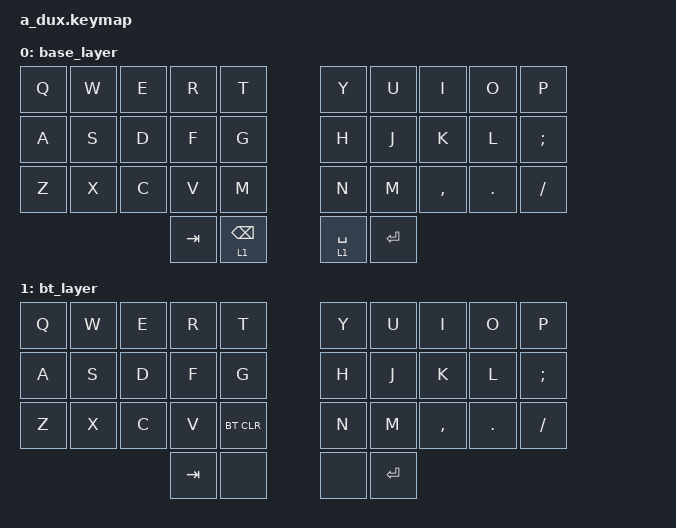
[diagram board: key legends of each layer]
/*
 * Copyright (c) 2021 The ZMK Contributors
 *
 * SPDX-License-Identifier: MIT
 */

#include <behaviors.dtsi>
#include <dt-bindings/zmk/keys.h>
#include <dt-bindings/zmk/bt.h>

/ {

	keymap {
		compatible = "zmk,keymap";

		// This is a sample keymap intended to be replaced with your own
		base_layer {
			bindings = <
&kp Q     &kp W     &kp E     &kp R     &kp T                             &kp Y     &kp U     &kp I     &kp O     &kp P
&kp A     &kp S     &kp D     &kp F     &kp G                             &kp H     &kp J     &kp K     &kp L     &kp SEMI
&kp Z     &kp X     &kp C     &kp V     &kp M                             &kp N     &kp M     &kp COMMA &kp DOT   &kp SLASH
                                        &kp TAB   &lt 1 BSPC  &lt 1 SPACE &kp ENTER
			>;
		};
		bt_layer {
			bindings = <
&kp Q     &kp W     &kp E     &kp R     &kp T                             &kp Y     &kp U     &kp I     &kp O     &kp P
&kp A     &kp S     &kp D     &kp F     &kp G                             &kp H     &kp J     &kp K     &kp L     &kp SEMI
&kp Z     &kp X     &kp C     &kp V     &bt BT_CLR                        &kp N     &kp M     &kp COMMA &kp DOT   &kp SLASH
                                        &kp TAB   &none             &none &kp ENTER
			>;
		};

	};
};
